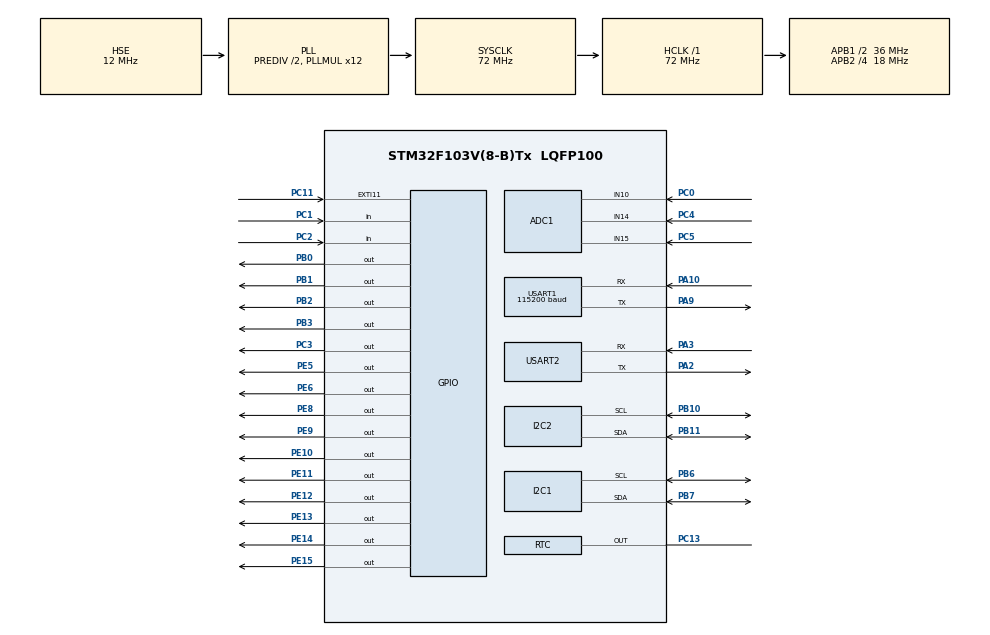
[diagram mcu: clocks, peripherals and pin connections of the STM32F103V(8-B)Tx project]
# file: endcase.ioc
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ADC1.Channel-0\#ChannelRegularConversion=ADC_CHANNEL_10
ADC1.Channel-1\#ChannelRegularConversion=ADC_CHANNEL_14
ADC1.Channel-2\#ChannelRegularConversion=ADC_CHANNEL_15
ADC1.ContinuousConvMode=ENABLE
ADC1.EnableInjectedConversion=DISABLE
ADC1.NbrOfConversion=3
ADC1.NbrOfConversionFlag=1
ADC1.Rank-0\#ChannelRegularConversion=1
ADC1.Rank-1\#ChannelRegularConversion=2
ADC1.Rank-2\#ChannelRegularConversion=3
ADC1.SamplingTime-0\#ChannelRegularConversion=ADC_SAMPLETIME_7CYCLES_5
ADC1.SamplingTime-1\#ChannelRegularConversion=ADC_SAMPLETIME_7CYCLES_5
ADC1.SamplingTime-2\#ChannelRegularConversion=ADC_SAMPLETIME_7CYCLES_5
ADC1.master=1
Dma.ADC1.0.Direction=DMA_PERIPH_TO_MEMORY
Dma.ADC1.0.Instance=DMA1_Channel1
Dma.ADC1.0.MemDataAlignment=DMA_MDATAALIGN_HALFWORD
Dma.ADC1.0.MemInc=DMA_MINC_ENABLE
Dma.ADC1.0.Mode=DMA_CIRCULAR
Dma.ADC1.0.PeriphDataAlignment=DMA_PDATAALIGN_HALFWORD
Dma.ADC1.0.PeriphInc=DMA_PINC_DISABLE
Dma.ADC1.0.Priority=DMA_PRIORITY_LOW
Dma.Request0=ADC1
Dma.Request1=USART1_RX
Dma.Request2=USART1_TX
Dma.USART1_RX.1.Direction=DMA_PERIPH_TO_MEMORY
Dma.USART1_RX.1.Instance=DMA1_Channel5
Dma.USART1_RX.1.MemDataAlignment=DMA_MDATAALIGN_BYTE
Dma.USART1_RX.1.MemInc=DMA_MINC_ENABLE
Dma.USART1_RX.1.Mode=DMA_NORMAL
Dma.USART1_RX.1.PeriphDataAlignment=DMA_PDATAALIGN_BYTE
Dma.USART1_RX.1.PeriphInc=DMA_PINC_DISABLE
Dma.USART1_RX.1.Priority=DMA_PRIORITY_LOW
Dma.USART1_TX.2.Direction=DMA_MEMORY_TO_PERIPH
Dma.USART1_TX.2.Instance=DMA1_Channel4
Dma.USART1_TX.2.MemDataAlignment=DMA_MDATAALIGN_BYTE
Dma.USART1_TX.2.MemInc=DMA_MINC_ENABLE
Dma.USART1_TX.2.Mode=DMA_NORMAL
Dma.USART1_TX.2.PeriphDataAlignment=DMA_PDATAALIGN_BYTE
Dma.USART1_TX.2.PeriphInc=DMA_PINC_DISABLE
Dma.USART1_TX.2.Priority=DMA_PRIORITY_LOW
Mcu.Family=STM32F1
Mcu.Name=STM32F103V(8-B)Tx
Mcu.Package=LQFP100
NVIC.DMA1_Channel1_IRQn=true\:4\:0\:true\:false\:true\:false\:true\:true
NVIC.DMA1_Channel4_IRQn=true\:4\:0\:true\:false\:true\:false\:true\:true
NVIC.DMA1_Channel5_IRQn=true\:4\:0\:true\:false\:true\:false\:true\:true
NVIC.EXTI15_10_IRQn=true\:1\:0\:true\:false\:true\:true\:true\:true
NVIC.PriorityGroup=NVIC_PRIORITYGROUP_4
NVIC.TIM2_IRQn=true\:0\:0\:false\:false\:true\:true\:true\:true
NVIC.USART1_IRQn=true\:2\:0\:true\:false\:true\:true\:true\:true
NVIC.USART2_IRQn=true\:2\:0\:true\:false\:true\:true\:true\:true
OSC_IN.Mode=HSE-External-Oscillator
OSC_IN.Signal=RCC_OSC_IN
OSC_OUT.Mode=HSE-External-Oscillator
OSC_OUT.Signal=RCC_OSC_OUT
PA10.Mode=Asynchronous
PA10.Signal=USART1_RX
PA13.Mode=Serial_Wire
PA13.Signal=SYS_JTMS-SWDIO
PA14.Mode=Serial_Wire
PA14.Signal=SYS_JTCK-SWCLK
PA2.Mode=Asynchronous
PA2.Signal=USART2_TX
PA3.Mode=Asynchronous
PA3.Signal=USART2_RX
PA9.Mode=Asynchronous
PA9.Signal=USART1_TX
PB0.Signal=GPIO_Output
PB1.Signal=GPIO_Output
PB10.Mode=I2C
PB10.Signal=I2C2_SCL
PB11.Mode=I2C
PB11.Signal=I2C2_SDA
PB2.Signal=GPIO_Output
PB3.PinState=GPIO_PIN_SET
PB3.Signal=GPIO_Output
PB6.Mode=I2C
PB6.Signal=I2C1_SCL
PB7.Mode=I2C
PB7.Signal=I2C1_SDA
PC0.Signal=ADCx_IN10
PC1.Signal=GPIO_Input
PC11.GPIO_ModeDefaultEXTI=GPIO_MODE_IT_FALLING
PC11.Signal=GPXTI11
PC13-TAMPER-RTC.Mode=RTC OUT
PC13-TAMPER-RTC.Signal=RTC_OUT
PC14-OSC32_IN.Mode=LSE-External-Oscillator
PC14-OSC32_IN.Signal=RCC_OSC32_IN
PC15-OSC32_OUT.Mode=LSE-External-Oscillator
PC15-OSC32_OUT.Signal=RCC_OSC32_OUT
PC2.Signal=GPIO_Input
PC3.GPIO_Speed=GPIO_SPEED_FREQ_HIGH
PC3.Signal=GPIO_Output
PC4.Signal=ADCx_IN14
PC5.Signal=ADCx_IN15
PE10.GPIO_ModeDefaultOutputPP=GPIO_MODE_OUTPUT_PP
PE10.GPIO_PuPd=GPIO_NOPULL
PE10.GPIO_Speed=GPIO_SPEED_FREQ_LOW
PE10.PinState=GPIO_PIN_RESET
PE10.Signal=GPIO_Output
PE11.GPIO_ModeDefaultOutputPP=GPIO_MODE_OUTPUT_PP
PE11.GPIO_PuPd=GPIO_NOPULL
PE11.GPIO_Speed=GPIO_SPEED_FREQ_LOW
PE11.PinState=GPIO_PIN_RESET
PE11.Signal=GPIO_Output
PE12.Signal=GPIO_Output
PE13.Signal=GPIO_Output
PE14.Signal=GPIO_Output
PE15.Signal=GPIO_Output
PE5.Signal=GPIO_Output
PE6.GPIO_Speed=GPIO_SPEED_FREQ_HIGH
PE6.PinState=GPIO_PIN_RESET
PE6.Signal=GPIO_Output
PE8.Signal=GPIO_Output
PE9.Signal=GPIO_Output
ProjectManager.HeapSize=0x200
ProjectManager.StackSize=0x400
ProjectManager.TargetToolchain=MDK-ARM V5.32
RCC.ADCPresc=RCC_ADCPCLK2_DIV4
RCC.AHBFreq_Value=72000000
RCC.APB1CLKDivider=RCC_HCLK_DIV2
RCC.APB1Freq_Value=36000000
RCC.APB1TimFreq_Value=72000000
RCC.APB2CLKDivider=RCC_HCLK_DIV4
RCC.APB2Freq_Value=18000000
RCC.APB2TimFreq_Value=36000000
RCC.HCLKFreq_Value=72000000
RCC.HSEDivPLL=RCC_HSE_PREDIV_DIV2
RCC.HSE_VALUE=12000000
RCC.PLLMUL=RCC_PLL_MUL12
RCC.PLLSourceVirtual=RCC_PLLSOURCE_HSE
RCC.RTCClockSelection=RCC_RTCCLKSOURCE_LSE
RCC.SYSCLKFreq_VALUE=72000000
RCC.SYSCLKSource=RCC_SYSCLKSOURCE_PLLCLK
RCC.USBFreq_Value=72000000
SH.ADCx_IN10.0=ADC1_IN10,IN10
SH.ADCx_IN14.0=ADC1_IN14,IN14
SH.ADCx_IN15.0=ADC1_IN15,IN15
TIM2.Period=131
TIM2.Prescaler=72-1
USART1.BaudRate=115200
USART1.VirtualMode=VM_ASYNC
USART2.VirtualMode=VM_ASYNC
VP_RTC_VS_RTC_Activate.Mode=RTC_Enabled
VP_RTC_VS_RTC_Calendar.Mode=RTC_Calendar
VP_TIM2_VS_ClockSourceINT.Mode=Internal
board=custom

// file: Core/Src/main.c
/* USER CODE BEGIN Header */
/**
  ******************************************************************************
  * @file           : main.c
  * @brief          : Main program body
  ******************************************************************************
  * @attention
  *
  * Copyright (c) 2023 STMicroelectronics.
  * All rights reserved.
  *
  * This software is licensed under terms that can be found in the LICENSE file
  * in the root directory of this software component.
  * If no LICENSE file comes with this software, it is provided AS-IS.
  *
  ******************************************************************************
  */
/* USER CODE END Header */
#include "main.h"
#include "adc.h"
#include "dma.h"
#include "i2c.h"
#include "rtc.h"
#include "tim.h"
#include "usart.h"
#include "gpio.h"

/* USER CODE BEGIN Includes */
#include "ir.h"
#include <string.h>
#include <stdio.h>
int fputc(int ch, FILE *f)
{
  HAL_UART_Transmit(&huart1, (uint8_t *)&ch, 1, 0xffff);
  return ch;
}
uint32_t temp = 0;//用于接收数据
#define ADDR_24LCxx_Write 0xA0
#define ADDR_24LCxx_Read 0xA1
#define BufferSize 256
uint8_t WriteBuffer[BufferSize],ReadBuffer[BufferSize];
uint16_t i;
#define MAX_Frequency 1080			  //最大电台频率
#define MIN_Frequency 875				  //最小电台频率
unsigned char WriteBufferFM[7]={
	0x11,          //02H:音频输出，静音禁用，12MHZ，启用状态
	0x1a,0x50,          //03H:97500KHZ,频率使能87-108M(US/Europe)，步进100KHZ
	0x40,0x02,		    //04H:1-0为GPIO1(10为低，灯亮；11为高，灯灭)，...
	0x88,0xa5 };	    //a5中的5为初始音量

/* USER CODE END Includes */

/* USER CODE BEGIN PV */
RTC_DateTypeDef GetData;

RTC_TimeTypeDef GetTime;

RTC_AlarmTypeDef Alarm;

HAL_StatusTypeDef i2cStatus;
struct
{ unsigned char head;
	unsigned char function;
	short AD_Data[3];
} DAM_BUF={0xaa,0x55,1,2,3};
struct
{
    unsigned char head;
    unsigned char function;
		unsigned char temperature;
    unsigned char lightData;
		unsigned char led;
		unsigned char hour;
		unsigned char minute;
	  unsigned char second;
} sendData1 = {0xaa, 0x55, 1, 2, 3, 4, 5, 6};
struct
{
    unsigned char head;
    unsigned char function;
		unsigned char freqh;
    unsigned char freql;
		unsigned char volume;
		unsigned char alarmh;
		unsigned char alarmm;
	  unsigned char alarms;
} sendData2 = {0xaa, 0x55, 1, 2, 3, 4, 5, 6};
char ans[5]={0xaa,0x55,0x30,0x20,0x10};
uint8_t receivedData[8];
uint8_t Rs485data[8];
unsigned char dataIndex;
unsigned char display[8]={1,2,3,4,5,6,7,8};
char segTable[] = {0x3f,0x06,0x5b,0x4f,0x66,0x6d,0x7d,0x07,0x7f,0x6f,0x00,0x3f+0x80,0x06+0x80,0x5b+0x80,0x4f+0x80,0x66+0x80,0x6d+0x80,0x7d+0x80,0x07+0x80,0x7f+0x80,0x6f+0x80};
char clockModificationMode = 0;
unsigned char nowhourlow;
unsigned char nowminutelow;
unsigned char nowsecondlow;
unsigned char nowhourhigh;
unsigned char nowminutehigh;
unsigned char nowsecondhigh;
unsigned long frqe=975;
unsigned char volume=5;
unsigned int chan=0;
uint8_t temperature;
uint8_t lightADCValue;
static uint32_t adcSum[3] = {0};
static uint8_t adcCount = 0;
char led=0;
char oldled=0;
char Alarmflag=0;
char backcount=0;
char sendflag=0;
char dma_state=0;
char wei=7;
char model=1;
int key1_falg=0;
int key2_falg=0;
int navikey_falg=0;
static uint8_t key1_state = 0;
static uint16_t key1_count = 0;
static uint8_t key2_state = 0;
static uint16_t key2_count = 0;
static uint8_t navikey_state = 0;
static uint16_t navikey_count = 0;
char Flag_100uS;    //100uS
char Flag_1mS;      //1mS
char Flag_10mS;      //1mS
char Flag_20mS;     //10mS
char Flag_100mS;     //100mS
char Flag_1S;       //1S
char Flag_1Min;     //1Min
char Flag_1Hour;    //1Hour
unsigned char count_100uS;    //100uS
unsigned char count_1mS;      //1mS
unsigned char count_20mS;     //20mS
unsigned char count_100mS;			//100ms
unsigned char count_1S;       //1S
unsigned char count_1Min;     //1Min

/* USER CODE END PV */

void SystemClock_Config(void);
/* USER CODE BEGIN PFP */
void HAL_SYSTICK_Callback(void);
void Func_100uS(void);
void Func_1mS(void);
void Func_10mS(void);
void Func_20mS(void);
void Func_100mS(void);
void Func_1S(void);
void Func_1Min(void);
void Func_1Hour(void);
void debounceKey(GPIO_TypeDef *GPIOx, uint16_t GPIO_Pin, uint8_t *key_state, uint16_t *key_count);

/* USER CODE END PFP */

int main(void)
{

  /* MCU Configuration--------------------------------------------------------*/

  /* Reset of all peripherals, Initializes the Flash interface and the Systick. */
  HAL_Init();

  /* Configure the system clock */
  SystemClock_Config();

  /* USER CODE BEGIN SysInit */
  HAL_SYSTICK_Config(HAL_RCC_GetHCLKFreq()/10000);   //SysTick设置成 100uS
  /* USER CODE END SysInit */

  /* Initialize all configured peripherals */
  MX_GPIO_Init();
  MX_DMA_Init();
  MX_ADC1_Init();
  MX_RTC_Init();
  MX_USART1_UART_Init();
  MX_USART2_UART_Init();
  MX_I2C2_Init();
  MX_I2C1_Init();
  MX_TIM2_Init();
  /* USER CODE BEGIN 2 */
IR_init();
	HAL_ADC_Start_DMA(&hadc1, (uint32_t *)&DAM_BUF.AD_Data, 3);
	HAL_UART_Transmit_DMA(&huart1, (unsigned char *)&sendData1, sizeof(sendData1));
	HAL_UART_Receive_DMA(&huart1, receivedData, sizeof(receivedData));

	HAL_I2C_Mem_Read(&hi2c1, ADDR_24LCxx_Read, 0, I2C_MEMADD_SIZE_8BIT,ReadBuffer,BufferSize, 0xff);
	Alarm.AlarmTime.Hours=ReadBuffer[0];
	Alarm.AlarmTime.Minutes=ReadBuffer[1];
	Alarm.AlarmTime.Seconds=ReadBuffer[2];
	if(HAL_I2C_Mem_Write(&hi2c2, 0x20, 0xc0, I2C_MEMADD_SIZE_8BIT,WriteBufferFM,7, 1000) == HAL_OK)//收音机
  /* USER CODE END 2 */

  /* Infinite loop */
  /* USER CODE BEGIN WHILE */
  while (1)
  {
			if (Flag_100uS!=0) { Flag_100uS = 0;  Func_100uS();}
			if (Flag_1mS!=0)   { Flag_1mS = 0;    Func_1mS();}
			if (Flag_20mS!=0)  { Flag_20mS = 0;   Func_20mS(); }
			if (Flag_100mS!=0)  { Flag_100mS = 0;   Func_100mS(); }
			if (Flag_1S!=0)    { Flag_1S = 0;     Func_1S();}
			if (Flag_1Min!=0)  { Flag_1Min = 0;   Func_1Min();}
    /* USER CODE END WHILE */

  }
}

void SystemClock_Config(void)
{
  RCC_OscInitTypeDef RCC_OscInitStruct = {0};
  RCC_ClkInitTypeDef RCC_ClkInitStruct = {0};
  RCC_PeriphCLKInitTypeDef PeriphClkInit = {0};

  /** Initializes the RCC Oscillators according to the specified parameters
  * in the RCC_OscInitTypeDef structure.
  */
  RCC_OscInitStruct.OscillatorType = RCC_OSCILLATORTYPE_HSE|RCC_OSCILLATORTYPE_LSE;
  RCC_OscInitStruct.HSEState = RCC_HSE_ON;
  RCC_OscInitStruct.HSEPredivValue = RCC_HSE_PREDIV_DIV2;
  RCC_OscInitStruct.LSEState = RCC_LSE_ON;
  RCC_OscInitStruct.HSIState = RCC_HSI_ON;
  RCC_OscInitStruct.PLL.PLLState = RCC_PLL_ON;
  RCC_OscInitStruct.PLL.PLLSource = RCC_PLLSOURCE_HSE;
  RCC_OscInitStruct.PLL.PLLMUL = RCC_PLL_MUL12;
  if (HAL_RCC_OscConfig(&RCC_OscInitStruct) != HAL_OK)
  {
    Error_Handler();
  }

  /** Initializes the CPU, AHB and APB buses clocks
  */
  RCC_ClkInitStruct.ClockType = RCC_CLOCKTYPE_HCLK|RCC_CLOCKTYPE_SYSCLK
                              |RCC_CLOCKTYPE_PCLK1|RCC_CLOCKTYPE_PCLK2;
  RCC_ClkInitStruct.SYSCLKSource = RCC_SYSCLKSOURCE_PLLCLK;
  RCC_ClkInitStruct.AHBCLKDivider = RCC_SYSCLK_DIV1;
  RCC_ClkInitStruct.APB1CLKDivider = RCC_HCLK_DIV2;
  RCC_ClkInitStruct.APB2CLKDivider = RCC_HCLK_DIV4;

  if (HAL_RCC_ClockConfig(&RCC_ClkInitStruct, FLASH_LATENCY_2) != HAL_OK)
  {
    Error_Handler();
  }
  PeriphClkInit.PeriphClockSelection = RCC_PERIPHCLK_RTC|RCC_PERIPHCLK_ADC;
  PeriphClkInit.RTCClockSelection = RCC_RTCCLKSOURCE_LSE;
  PeriphClkInit.AdcClockSelection = RCC_ADCPCLK2_DIV4;
  if (HAL_RCCEx_PeriphCLKConfig(&PeriphClkInit) != HAL_OK)
  {
    Error_Handler();
  }
}

/* USER CODE BEGIN 4 */
void HAL_SYSTICK_Callback(void)
{ Flag_100uS=1;
	if (++count_100uS>=10)
	 { count_100uS=0;  Flag_1mS=1;
		 if (++count_1mS>=20)
			 { count_1mS=0;		 Flag_20mS=1;
				 if (++count_20mS>=5)
					 { count_20mS=0;			 Flag_100mS=1;
						if (++count_100mS>=10)
					 { count_100mS=0;			 Flag_1S=1;
							 if(++count_1S>=60)
								{ count_1S=0;						Flag_1Min=1;
									if(++count_1Min>=60)
										{ count_1Min=0;							Flag_1Hour=1;
										}
								}
					 }
				 }
			 }
	 }
}
void SegValue(char value)
{
	GPIOE->ODR &= ~(0xff<<8);
	GPIOE->ODR |= value<<8;
}
void LedValue(char value)
{
	GPIOE->ODR &= ~(0xff<<8);
	GPIOE->ODR |= value<<8;
	led=value;
}
void Setdisplay(char w, char value)
{
	if(w<=7)
	{
		GPIOB->ODR &= ~(0x0f);//低四位
		GPIOB->ODR |= (w & 0x07);//位选
		SegValue(segTable[value]);
	}
}
void Ledplay(char value)
{

	GPIOB->ODR |= (0x08);//PE3为1
	LedValue(value);
}
void all_seg_print(uint8_t d1, uint8_t d2, uint8_t d3, uint8_t d4, uint8_t d5, uint8_t d6, uint8_t d7, uint8_t d8)
{
	if(clockModificationMode==0 )
	{
    display[0] = d1;
    display[1] = d2;
    display[2] = d3;
    display[3] = d4;
    display[4] = d5;
    display[5] = d6;
    display[6] = d7;
    display[7] = d8;
	}
	else if(clockModificationMode==1 )
	{
    if(wei==0)display[0] = d1+11;
		else display[0] = d1;
    if(wei==1)display[1] = d2+11;
		else display[1] = d2;
    if(wei==2)display[2] = d3+11;
		else display[2] = d3;
    if(wei==3)display[3] = d4+11;
		else display[3] = d4;
    if(wei==4)display[4] = d5+11;
		else display[4] = d5;
    if(wei==5)display[5] = d6+11;
		else display[5] = d6;
    if(wei==6)display[6] = d7+11;
		else display[6] = d7;
    if(wei==7)display[7] = d8+11;
		else display[7] = d8;
	}
		if(model==4 )
	{
    display[0] = d1;
    display[1] = d2;
    display[2] = d3;
    display[3] = d4;
    display[4] = d5;
    display[5] = d6;
    display[6] = d7+11;
    display[7] = d8;
	}
}
void Func_1mS(void)
{
	static char count;
	if (count<=7)
	{
		Setdisplay(count, display[count]);
		count++;
	}
	else
	{
		count=0;
		Ledplay(led);
	}
	if (HAL_GPIO_ReadPin(GPIOC, GPIO_PIN_2) == GPIO_PIN_RESET)
    {
        if (key1_count < 10)
        {
            key1_count++;
        }
        else
        {
            if (key1_state == GPIO_PIN_SET)
            {
               key1_falg=1-key1_falg;
							 if (++model > 4) model= 1;
								if(model==3)
									{
										nowhourlow=Alarm.AlarmTime.Hours%10;
										nowminutelow=Alarm.AlarmTime.Minutes%10;
										nowsecondlow=Alarm.AlarmTime.Seconds%10;
										nowhourhigh=Alarm.AlarmTime.Hours/10;
										nowminutehigh=Alarm.AlarmTime.Minutes/10;
										nowsecondhigh=Alarm.AlarmTime.Seconds/10;
									}
            }
            key1_state = GPIO_PIN_RESET;
        }
    }
    else
    {
        if (key1_count > 0)
        {
            key1_count--;
        }
        else
        {
            if (key1_state == GPIO_PIN_RESET)
            {
            }
            key1_state = GPIO_PIN_SET;
        }
    }
	if (HAL_GPIO_ReadPin(GPIOC, GPIO_PIN_1) == GPIO_PIN_RESET)
    {
        if (key2_count < 10)
        {
            key2_count++;
        }
        else
        {
            if (key2_state == GPIO_PIN_SET)
            {
								key2_falg=1-key2_falg;
								if(key2_falg==1)led=led|0x0f;
								else led=led&0xf0;
            }
            key2_state = GPIO_PIN_RESET;
        }
    }
    else
    {
        if (key2_count > 0)
        {
            key2_count--;
        }
        else
        {
            if (key2_state == GPIO_PIN_RESET)
            {
            }
            key2_state = GPIO_PIN_SET;
        }
    }
		if (DAM_BUF.AD_Data[0] / 100 != 40)
    {

			if(volume==0)HAL_I2C_Mem_Write(&hi2c2, 0x20, 0x80, I2C_MEMADD_SIZE_8BIT,WriteBufferFM,7, 1000);
        if (navikey_count < 20)
        {
            navikey_count++;
        }
        else
        {
						 if (navikey_state == GPIO_PIN_SET)
            {
								if (DAM_BUF.AD_Data[0] / 100 == 28) //导航上建
                {
									if(model==1||model==3)
									{
										switch(wei)
										{
											case 0:
												if(nowhourhigh<2)nowhourhigh++;
												else nowhourhigh=0;
												break;
											case 1:
												if(nowhourhigh<2 && nowhourlow<10)
												{
													nowhourlow++;
													if(nowhourlow==10)
													{
														nowhourlow=0;
													}
												}
												else if(nowhourhigh==2 && nowhourlow<4)
												{
													nowhourlow++;
													if(nowhourlow==4)
													{
														nowhourlow=0;
													}
												}
												else nowhourlow=0;
												break;
											 case 3:
                        if (nowminutehigh < 5)
                            nowminutehigh++;
                        else
                            nowminutehigh = 0;
                        break;
                    case 4:
                        if (nowminutelow < 9)
                            nowminutelow++;
                        else
                            nowminutelow = 0;
                        break;
                    case 6:
                        if (nowsecondhigh < 5)
                            nowsecondhigh++;
                        else
                            nowsecondhigh = 0;
                        break;
                    case 7:
                        if (nowsecondlow < 9)
                            nowsecondlow++;
                        else
                            nowsecondlow = 0;
                        break;
										}
									}
									else if(model==4)
									{
										if(++volume>15)volume=0;
										WriteBufferFM[6] = (WriteBufferFM[6]&0xf0) | (volume&0x0f);
										if(volume==0)HAL_I2C_Mem_Write(&hi2c2, 0x20, 0x80, I2C_MEMADD_SIZE_8BIT,WriteBufferFM,7, 1000);
										else HAL_I2C_Mem_Write(&hi2c2, 0x20, 0xc0, I2C_MEMADD_SIZE_8BIT,WriteBufferFM,7, 1000);
									}
                }
								if(DAM_BUF.AD_Data[0] / 100 == 11)//导航下键
								{
									if(model==1||model==3)
									{
										switch(wei)
										{
											case 0:
												if(nowhourhigh>0)nowhourhigh--;
												else nowhourhigh=2;
												break;
											case 1:
												if(nowhourhigh<2 && nowhourlow>0)nowhourlow--;
												else if(nowhourhigh<2 && nowhourlow==0)nowhourlow=9;
												else if(nowhourhigh==2 && nowhourlow>0)nowhourlow--;
												else if(nowhourhigh==2 && nowhourlow==0)nowhourlow=3;
												break;
											 case 3:
                        if (nowminutehigh > 0)
                            nowminutehigh--;
                        else
                            nowminutehigh = 5;
                        break;
                    case 4:
                        if (nowminutelow > 0)
                            nowminutelow--;
                        else
                            nowminutelow = 9;
                        break;
                    case 6:
                        if (nowsecondhigh > 0)
                            nowsecondhigh--;
                        else
                            nowsecondhigh = 5;
                        break;
                    case 7:
                        if (nowsecondlow > 0)
                            nowsecondlow--;
                        else
                            nowsecondlow = 9;
                        break;
										}
									}
									else if(model==4)
									{
										if(volume>0)volume--;
										else volume=15;
										if(volume==0)
										WriteBufferFM[6] = (WriteBufferFM[6]&0xf0) | (volume&0x0f);
										if(volume==0)HAL_I2C_Mem_Write(&hi2c2, 0x20, 0x80, I2C_MEMADD_SIZE_8BIT,WriteBufferFM,7, 1000);
										else HAL_I2C_Mem_Write(&hi2c2, 0x20, 0xc0, I2C_MEMADD_SIZE_8BIT,WriteBufferFM,7, 1000);
									}
								}
								if(DAM_BUF.AD_Data[0] / 100 == 05)//导航右键
								{
									if(model==1||model==3)
									{
										if(wei!=1&&wei!=4&&wei<7)wei++;
										else if(wei==1||wei==4)wei+=2;
										else if(wei==7)wei=0;
									}
									else if(model==4)
									{
											if( frqe>MAX_Frequency )frqe = MIN_Frequency;
											else frqe++;
											chan = (frqe-870)/1;
											WriteBufferFM[1] = chan/4;
											WriteBufferFM[2] = ((chan%4)<<6)|0x10;
											HAL_I2C_Mem_Write(&hi2c2, 0x20, 0xc0, I2C_MEMADD_SIZE_8BIT,WriteBufferFM,7, 1000);
									}
								}
								if(DAM_BUF.AD_Data[0] / 100 == 23)//导航左键
								{
									if(model==1||model==3)
									{
									if(wei!=3&&wei!=6&&wei>0)wei--;
									else if(wei==3||wei==6)wei-=2;
									else if(wei==0)wei=7;
									}
									else if(model==4)
									{
											if( frqe<MIN_Frequency )frqe = MAX_Frequency;
											else frqe--;
											chan = (frqe-870)/1;
											WriteBufferFM[1] = chan/4;
											WriteBufferFM[2] = ((chan%4)<<6)|0x10;
											HAL_I2C_Mem_Write(&hi2c2, 0x20, 0xc0, I2C_MEMADD_SIZE_8BIT,WriteBufferFM,7, 1000);
									}
								}
								if(DAM_BUF.AD_Data[0] / 100 == 17)//导航中建
								{
									clockModificationMode=1-clockModificationMode;
									if(clockModificationMode==1 && model==1)
									{
										nowhourlow=GetTime.Hours%10;
										nowminutelow=GetTime.Minutes%10;
										nowsecondlow=GetTime.Seconds%10;
										nowhourhigh=GetTime.Hours/10;
										nowminutehigh=GetTime.Minutes/10;
										nowsecondhigh=GetTime.Seconds/10;
									}

									else if(clockModificationMode==0 && model==1)
									{
										GetTime.Hours=nowhourhigh*10+nowhourlow;
										GetTime.Minutes=nowminutehigh*10+nowminutelow;
										GetTime.Seconds=nowsecondhigh*10+nowsecondlow;
										HAL_RTC_SetTime(&hrtc, &GetTime, RTC_FORMAT_BIN);
									}
									else if(clockModificationMode==0 && model==3)
									{
										Alarm.AlarmTime.Hours=nowhourhigh*10+nowhourlow;
										Alarm.AlarmTime.Minutes=nowminutehigh*10+nowminutelow;
										Alarm.AlarmTime.Seconds=nowsecondhigh*10+nowsecondlow;
										WriteBuffer[0]=Alarm.AlarmTime.Hours;
										WriteBuffer[1]=Alarm.AlarmTime.Minutes;
										WriteBuffer[2]=Alarm.AlarmTime.Seconds;
                if(HAL_I2C_Mem_Write(&hi2c1, ADDR_24LCxx_Write, 0, I2C_MEMADD_SIZE_8BIT,WriteBuffer,8, 1000) == HAL_OK)
                printf("\r\n EEPROM 24C02 Write Test OK \r\n");
								HAL_Delay(20);
										HAL_RTC_SetAlarm_IT(&hrtc,&Alarm,RTC_FORMAT_BIN);
									}
								}
								if(DAM_BUF.AD_Data[0] / 100 == 00)
								{
								navikey_falg=1-navikey_falg;
								if(navikey_falg==1)led=led|0xf0;
								else led=led&0x0f;
								}
            }

            navikey_state = GPIO_PIN_RESET;
					HAL_GPIO_WritePin(GPIOE,GPIO_PIN_6,GPIO_PIN_SET);
					HAL_UART_Transmit(&huart2, (unsigned char *)&sendData2, sizeof(sendData2),0xFFFF);
					HAL_GPIO_WritePin(GPIOE,GPIO_PIN_6,GPIO_PIN_RESET);
        }
    }
    else
    {
        if (navikey_count > 0)
        {
            navikey_count--;
        }
        else
        {
            if (navikey_state == GPIO_PIN_RESET)
            {
            }
            navikey_state = GPIO_PIN_SET;
        }
    }
		if(GetTime.Hours==Alarm.AlarmTime.Hours && GetTime.Minutes==Alarm.AlarmTime.Minutes && ((GetTime.Seconds-Alarm.AlarmTime.Seconds)<=3) && ((GetTime.Seconds-Alarm.AlarmTime.Seconds)>=0))//闹钟
		{
			HAL_GPIO_TogglePin(GPIOE,GPIO_PIN_5);
		}

}
void Func_100uS(void)
{}
void Func_20mS(void)
{
				HAL_RTC_GetTime(&hrtc, &GetTime, RTC_FORMAT_BIN);
    adcSum[0] += DAM_BUF.AD_Data[0];
    adcSum[1] += DAM_BUF.AD_Data[1];
		adcSum[2] += DAM_BUF.AD_Data[2];
    adcCount++;
    if (adcCount >= 20)
    {
        adcSum[0] = adcSum[0] / 20;
        adcSum[1] = adcSum[1] / 20;
				adcSum[2] = adcSum[2] / 20;
        /*double VSense = (double)adcSum[2] * (3.3 / 4096.0);
        temperature = ((1.43 - VSense))*1000 / 43 + 25.0;
				lightADCValue = adcSum[1];
        uint8_t lightPercentage = (lightADCValue * 255) / 4096;*/

        if(model==1 && clockModificationMode==0)all_seg_print(GetTime.Hours/10,GetTime.Hours%10,10,(GetTime.Minutes/10),(GetTime.Minutes)%10,10,GetTime.Seconds/10,GetTime.Seconds%10);
				else if(model==1 && clockModificationMode==1)all_seg_print(nowhourhigh,nowhourlow,10,nowminutehigh,nowminutelow,10,nowsecondhigh,nowsecondlow);
				else if(model==3)all_seg_print(nowhourhigh,nowhourlow,10,nowminutehigh,nowminutelow,10,nowsecondhigh,nowsecondlow);
				else if(model==2)all_seg_print((lightADCValue/100)/10,(lightADCValue/10)%10,(lightADCValue%10),10,10,10,temperature/10,temperature%10);
				else if(model==4 && volume<10 && frqe<1000)all_seg_print(volume,10,10,10,10,frqe%1000/100,frqe%1000%100/10,frqe%1000%100%10);
				else if(model==4 && volume<10 && frqe>=1000)all_seg_print(volume,10,10,10,frqe/1000,frqe%1000/100,frqe%1000%100/10,frqe%1000%100%10);
				else if(model==4 && volume>=10 && frqe<1000)all_seg_print(volume/10,volume%10,10,10,10,frqe%1000/100,frqe%1000%100/10,frqe%1000%100%10);
				else if(model==4 && volume>=10 && frqe>=1000)all_seg_print(volume/10,volume%10,10,10,frqe/1000,frqe%1000/100,frqe%1000%100/10,frqe%1000%100%10);

        adcSum[0] = adcSum[1] = adcSum[2] = 0;
        adcCount = 0;
    }
}
void Func_100mS(void)
{
		if((&huart1)->gState == HAL_UART_STATE_READY)
	{
        sendflag=1-sendflag;
        dma_state=1;
        if( dma_state==1)
				{
						if(sendflag==1)
						{
							sendData1.temperature=temperature;
							sendData1.lightData=lightADCValue;
							sendData1.led=led;
							sendData1.hour=GetTime.Hours;
							sendData1.minute=GetTime.Minutes;
							sendData1.second=GetTime.Seconds;
							sendData1.function=0x55;

						}
						else if(sendflag==0)
						{
							sendData1.temperature=frqe/10;
							sendData1.lightData=frqe%10;
							sendData1.led=volume;
							sendData1.hour=Alarm.AlarmTime.Hours;
							sendData1.minute=Alarm.AlarmTime.Minutes;
							sendData1.second=Alarm.AlarmTime.Seconds;
							sendData1.function=0x56;

							sendData2.freqh=frqe/10;
							sendData2.freql=frqe%10;
							sendData2.volume=volume;
							sendData2.alarmh=led;
							sendData2.alarmm=Alarm.AlarmTime.Minutes;
							sendData2.alarms=Alarm.AlarmTime.Seconds;
						}
						HAL_UART_Transmit_DMA(&huart1, (unsigned char *)&sendData1, sizeof(sendData1));
						dma_state=0;
				}
	}

}
void Func_1S(void)
{
					HAL_GPIO_WritePin(GPIOE,GPIO_PIN_6,GPIO_PIN_SET);
					HAL_UART_Transmit(&huart2, (unsigned char *)&sendData2, sizeof(sendData2),0xFFFF);
					HAL_GPIO_WritePin(GPIOE,GPIO_PIN_6,GPIO_PIN_RESET);
	//if(HAL_GPIO_ReadPin(GPIOC, GPIO_PIN_2) == GPIO_PIN_RESET) if (++ADC_channel>2) ADC_channel=0;
}

void Func_1Min(void)
{

}

void HAL_UART_RxCpltCallback(UART_HandleTypeDef *huart)
{

	if(huart->Instance==USART1)
  {
		 if (receivedData[0] == 0xAA && receivedData[1] == 0x55)
    {
        led = receivedData[4];  // The 6th byte is the LED data
				if(receivedData[5]==1)
				{
					if(frqe<1080)frqe+=1;
					else frqe=875;
				}
				else if(receivedData[5]==2)
				{
					if(frqe>875)frqe-=1;
					else frqe=1080;
				}
				if(receivedData[6]==1)
				{
					if(volume<15)volume+=1;
					else volume=0;
				}
				else if(receivedData[6]==2)
				{
					if(volume>0)volume-=1;
					else volume=15;
				}
        HAL_UART_Receive_DMA(&huart1, receivedData, sizeof(receivedData));
    }
  }

}
void HAL_RTC_AlarmAEventCallback(RTC_HandleTypeDef *nhrtc)
{
	oldled=led;
	led=255;
  HAL_RTC_SetAlarm_IT(&hrtc,&Alarm,RTC_FORMAT_BIN);
//--------------------------------------------------------
}

/* USER CODE END 4 */

void Error_Handler(void)
{
  __disable_irq();
  while (1)
  {
  }
}
